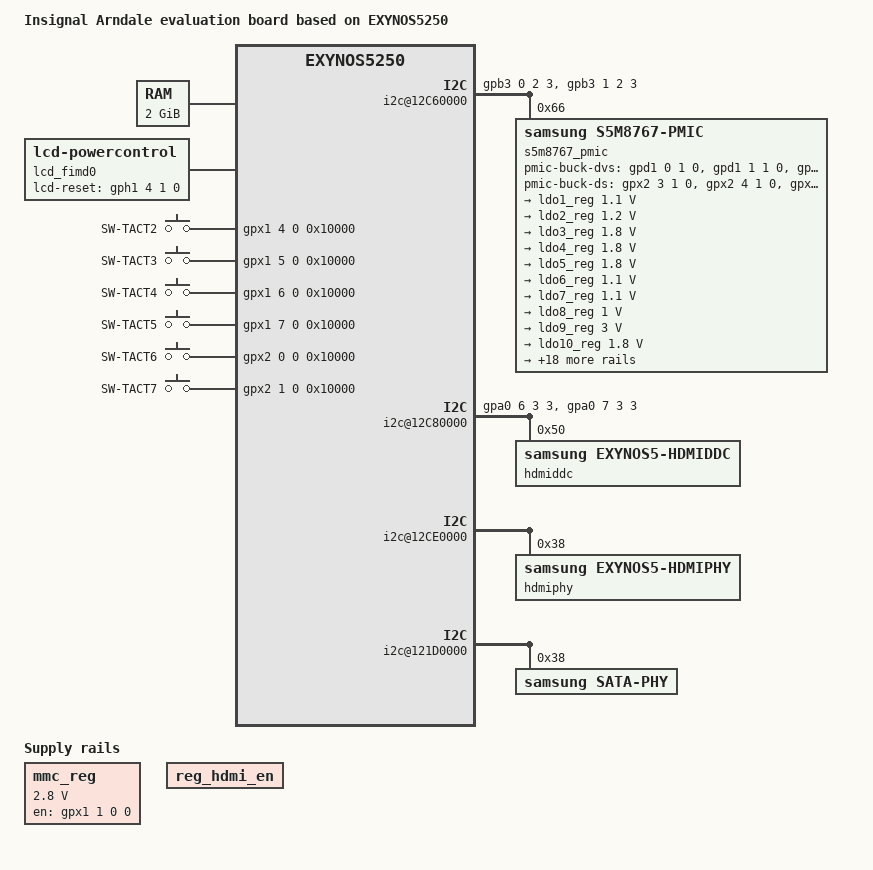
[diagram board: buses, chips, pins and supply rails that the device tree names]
/*
 * Samsung's Exynos5250 based Arndale board device tree source
 *
 * Copyright (c) 2013 Samsung Electronics Co., Ltd.
 *		http://www.samsung.com
 *
 * This program is free software; you can redistribute it and/or modify
 * it under the terms of the GNU General Public License version 2 as
 * published by the Free Software Foundation.
*/

/dts-v1/;
/include/ "exynos5250.dtsi"

/ {
	model = "Insignal Arndale evaluation board based on EXYNOS5250";
	compatible = "insignal,arndale", "samsung,exynos5250";

	memory {
		reg = <0x40000000 0x80000000>;
	};

	timer {
		compatible = "arm,armv7-timer";
		interrupts = <1 13 0xf08>,
			     <1 14 0xf08>,
			     <1 11 0xf08>,
			     <1 10 0xf08>;
	};

	chosen {
		bootargs = "console=ttySAC2,115200";
	};

	codec@11000000 {
		samsung,mfc-r = <0x43000000 0x800000>;
		samsung,mfc-l = <0x51000000 0x800000>;
	};

	i2c@12C60000 {
		samsung,i2c-sda-delay = <100>;
		samsung,i2c-max-bus-freq = <20000>;
		samsung,i2c-slave-addr = <0x66>;
		gpios = <&gpb3 0 2 3 0>,
			<&gpb3 1 2 3 0>;

		s5m8767_pmic@66 {
			compatible = "samsung,s5m8767-pmic";
			reg = <0x66>;

			s5m8767,pmic-buck2-dvs-voltage = <1300000>;
			s5m8767,pmic-buck3-dvs-voltage = <1100000>;
			s5m8767,pmic-buck4-dvs-voltage = <1200000>;
			s5m8767,pmic-buck-dvs-gpios = <&gpd1 0 1 0 0>,
							<&gpd1 1 1 0 0>,
							<&gpd1 2 1 0 0>;
			s5m8767,pmic-buck-ds-gpios = <&gpx2 3 1 0 0>,
							<&gpx2 4 1 0 0>,
							<&gpx2 5 1 0 0>;
			regulators {
				ldo1_reg: LDO1 {
					regulator-name = "VDD_ALIVE_1.0V";
					regulator-min-microvolt = <1100000>;
					regulator-max-microvolt = <1100000>;
					regulator-always-on;
					regulator-boot-on;
					op_mode = <1>;
				};

				ldo2_reg: LDO2 {
					regulator-name = "VDD_28IO_DP_1.35V";
					regulator-min-microvolt = <1200000>;
					regulator-max-microvolt = <1200000>;
					regulator-always-on;
					regulator-boot-on;
					op_mode = <1>;
				};

				ldo3_reg: LDO3 {
					regulator-name = "VDD_COMMON1_1.8V";
					regulator-min-microvolt = <1800000>;
					regulator-max-microvolt = <1800000>;
					regulator-always-on;
					regulator-boot-on;
					op_mode = <1>;
				};

				ldo4_reg: LDO4 {
					regulator-name = "VDD_IOPERI_1.8V";
					regulator-min-microvolt = <1800000>;
					regulator-max-microvolt = <1800000>;
					op_mode = <1>;
				};

				ldo5_reg: LDO5 {
					regulator-name = "VDD_EXT_1.8V";
					regulator-min-microvolt = <1800000>;
					regulator-max-microvolt = <1800000>;
					regulator-always-on;
					regulator-boot-on;
					op_mode = <1>;
				};

				ldo6_reg: LDO6 {
					regulator-name = "VDD_MPLL_1.1V";
					regulator-min-microvolt = <1100000>;
					regulator-max-microvolt = <1100000>;
					regulator-always-on;
					regulator-boot-on;
					op_mode = <1>;
				};

				ldo7_reg: LDO7 {
					regulator-name = "VDD_XPLL_1.1V";
					regulator-min-microvolt = <1100000>;
					regulator-max-microvolt = <1100000>;
					regulator-always-on;
					regulator-boot-on;
					op_mode = <1>;
				};

				ldo8_reg: LDO8 {
					regulator-name = "VDD_COMMON2_1.0V";
					regulator-min-microvolt = <1000000>;
					regulator-max-microvolt = <1000000>;
					regulator-always-on;
					regulator-boot-on;
					op_mode = <1>;
				};

				ldo9_reg: LDO9 {
					regulator-name = "VDD_33ON_3.0V";
					regulator-min-microvolt = <3000000>;
					regulator-max-microvolt = <3000000>;
					op_mode = <1>;
				};

				ldo10_reg: LDO10 {
					regulator-name = "VDD_COMMON3_1.8V";
					regulator-min-microvolt = <1800000>;
					regulator-max-microvolt = <1800000>;
					regulator-always-on;
					regulator-boot-on;
					op_mode = <1>;
				};

				ldo11_reg: LDO11 {
					regulator-name = "VDD_ABB2_1.8V";
					regulator-min-microvolt = <1800000>;
					regulator-max-microvolt = <1800000>;
					regulator-always-on;
					regulator-boot-on;
					op_mode = <1>;
				};

				ldo12_reg: LDO12 {
					regulator-name = "VDD_USB_3.0V";
					regulator-min-microvolt = <3000000>;
					regulator-max-microvolt = <3000000>;
					regulator-always-on;
					regulator-boot-on;
					op_mode = <1>;
				};

				ldo13_reg: LDO13 {
					regulator-name = "VDDQ_C2C_W_1.8V";
					regulator-min-microvolt = <1800000>;
					regulator-max-microvolt = <1800000>;
					regulator-always-on;
					regulator-boot-on;
					op_mode = <1>;
				};

				ldo14_reg: LDO14 {
					regulator-name = "VDD18_ABB0_3_1.8V";
					regulator-min-microvolt = <1800000>;
					regulator-max-microvolt = <1800000>;
					regulator-always-on;
					regulator-boot-on;
					op_mode = <1>;
				};

				ldo15_reg: LDO15 {
					regulator-name = "VDD10_COMMON4_1.0V";
					regulator-min-microvolt = <1000000>;
					regulator-max-microvolt = <1000000>;
					regulator-always-on;
					regulator-boot-on;
					op_mode = <1>;
				};

				ldo16_reg: LDO16 {
					regulator-name = "VDD18_HSIC_1.8V";
					regulator-min-microvolt = <1800000>;
					regulator-max-microvolt = <1800000>;
					regulator-always-on;
					regulator-boot-on;
					op_mode = <1>;
				};

				ldo17_reg: LDO17 {
					regulator-name = "VDDQ_MMC2_3_2.8V";
					regulator-min-microvolt = <2800000>;
					regulator-max-microvolt = <2800000>;
					regulator-always-on;
					regulator-boot-on;
					op_mode = <1>;
				};

				ldo18_reg: LDO18 {
					regulator-name = "VDD_33ON_2.8V";
					regulator-min-microvolt = <2800000>;
					regulator-max-microvolt = <2800000>;
					op_mode = <1>;
				};

				ldo22_reg: LDO22 {
					regulator-name = "EXT_33_OFF";
					regulator-min-microvolt = <3300000>;
					regulator-max-microvolt = <3300000>;
					op_mode = <1>;
				};

				ldo23_reg: LDO23 {
					regulator-name = "EXT_28_OFF";
					regulator-min-microvolt = <2800000>;
					regulator-max-microvolt = <2800000>;
					op_mode = <1>;
				};

				ldo25_reg: LDO25 {
					regulator-name = "PVDD_LDO25";
					regulator-min-microvolt = <1200000>;
					regulator-max-microvolt = <1200000>;
					op_mode = <1>;
				};

				ldo26_reg: LDO26 {
					regulator-name = "EXT_18_OFF";
					regulator-min-microvolt = <1800000>;
					regulator-max-microvolt = <1800000>;
					op_mode = <1>;
				};

				buck1_reg: BUCK1 {
					regulator-name = "vdd_mif";
					regulator-min-microvolt = <950000>;
					regulator-max-microvolt = <1200000>;
					regulator-always-on;
					regulator-boot-on;
					op_mode = <1>;
				};

				buck2_reg: BUCK2 {
					regulator-name = "vdd_arm";
					regulator-min-microvolt = <925000>;
					regulator-max-microvolt = <1300000>;
					regulator-always-on;
					regulator-boot-on;
					op_mode = <1>;
				};

				buck3_reg: BUCK3 {
					regulator-name = "vdd_int";
					regulator-min-microvolt = <900000>;
					regulator-max-microvolt = <1200000>;
					regulator-always-on;
					regulator-boot-on;
					op_mode = <1>;
				};

				buck4_reg: BUCK4 {
					regulator-name = "vdd_g3d";
					regulator-min-microvolt = <1000000>;
					regulator-max-microvolt = <1000000>;
					regulator-boot-on;
					op_mode = <1>;
				};

				buck5_reg: BUCK5 {
					regulator-name = "VDD_MEM_1.35V";
					regulator-min-microvolt = <750000>;
					regulator-max-microvolt = <1355000>;
					regulator-always-on;
					regulator-boot-on;
					op_mode = <1>;
				};

				buck9_reg: BUCK9 {
					regulator-name = "VDD_33_OFF_EXT1";
					regulator-min-microvolt = <750000>;
					regulator-max-microvolt = <3000000>;
					op_mode = <1>;
				};
			};
		};
	};

	i2c@12C70000 {
		status = "disabled";
	};

	i2c@12C80000 {
		samsung,i2c-sda-delay = <100>;
		samsung,i2c-max-bus-freq = <66000>;
		gpios = <&gpa0 6 3 3 0>,
			<&gpa0 7 3 3 0>;

		hdmiddc@50 {
			compatible = "samsung,exynos5-hdmiddc";
			reg = <0x50>;
		};
	};

	i2c@12C90000 {
		status = "disabled";
	};

	i2c@12CA0000 {
		status = "disabled";
	};

	i2c@12CB0000 {
		status = "disabled";
	};

	i2c@12CC0000 {
		status = "disabled";
	};

	i2c@12CD0000 {
		status = "disabled";
	};

	i2c@12CE0000 {
		samsung,i2c-sda-delay = <100>;
		samsung,i2c-max-bus-freq = <66000>;

		hdmiphy@38 {
			compatible = "samsung,exynos5-hdmiphy";
			reg = <0x38>;
		};
	};

	i2c@121D0000 {
		samsung,i2c-sda-delay = <100>;
		samsung,i2c-max-bus-freq = <40000>;
		samsung,i2c-slave-addr = <0x38>;

		sata-phy {
			compatible = "samsung,sata-phy";
			reg = <0x38>;
		};
	};

	sata@122F0000 {
		samsung,sata-freq = <66>;
	};
	
	dwmmc_0: dwmmc0@12200000 {
		num-slots = <1>;
		supports-highspeed;
		broken-cd;
		fifo-depth = <0x80>;
		card-detect-delay = <200>;
		samsung,dw-mshc-ciu-div = <3>;
		samsung,dw-mshc-sdr-timing = <2 3>;
		samsung,dw-mshc-ddr-timing = <1 2>;
		vmmc-supply = <&mmc_reg>;

		slot@0 {
			reg = <0>;
			bus-width = <8>;
			gpios = <&gpc0 0 2 0 3>, <&gpc0 1 2 0 3>,
				<&gpc0 3 2 3 3>, <&gpc0 4 2 3 3>,
				<&gpc0 5 2 3 3>, <&gpc0 6 2 3 3>,
				<&gpc1 0 2 3 3>, <&gpc1 1 2 3 3>,
				<&gpc1 2 2 3 3>, <&gpc1 3 2 3 3>;
		};
	};

	dwmmc_1: dwmmc1@12210000 {
		status = "disabled";
	};

	dwmmc_2: dwmmc2@12220000 {
		num-slots = <1>;
		supports-highspeed;
		fifo-depth = <0x80>;
		card-detect-delay = <200>;
		samsung,dw-mshc-ciu-div = <3>;
		samsung,dw-mshc-sdr-timing = <2 3>;
		samsung,dw-mshc-ddr-timing = <1 2>;
		vmmc-supply = <&mmc_reg>;

		slot@0 {
			reg = <0>;
			bus-width = <4>;
			disable-wp;
			samsung,cd-pinmux-gpio = <&gpc3 2 2 3 3>;
			gpios = <&gpc3 0 2 0 3>, <&gpc3 1 2 0 3>,
				<&gpc3 3 2 3 3>, <&gpc3 4 2 3 3>,
				<&gpc3 5 2 3 3>, <&gpc3 6 2 3 3>;
		};
	};

	dwmmc_3: dwmmc3@12230000 {
		status = "disabled";
	};

	spi_0: spi@12d20000 {
		status = "disabled";
	};

	spi_1: spi@12d30000 {
		status = "disabled";
	};

	spi_2: spi@12d40000 {
		status = "disabled";
	};

	display-timings {
		native-mode = <&timing0>;
		timing0: timing@0 {
			clock-frequency = <50000>;
			hactive = <1024>;
			vactive = <600>;
			hfront-porch = <64>;
			hback-porch = <16>;
			hsync-len = <48>;
			vback-porch = <64>;
			vfront-porch = <16>;
			vsync-len = <3>;
		};
	};

	lcd_fimd0: lcd_panel0 {
		compatible = "lcd-powercontrol";
		lcd-reset-gpio = <&gph1 4 1 0 0>;
		lcd-htiming = <64 16 48 1024>;
		lcd-vtiming = <64 16 3 600>;
	};

	fimd: fimd@14400000 {
		samsung,fimd-display = <&lcd_fimd0>;
		samsung,fimd-vidout-rgb;
		samsung,fimd-inv-hsync;
		samsung,fimd-inv-vsync;
		samsung,fimd-inv-vclk;
		samsung,fimd-frame-rate = <60>;

		gpios = <&gph1 0 2 0 0>,
			<&gph1 1 2 0 0>;

		window0 {
			samsung,fimd-win-id = <0>;
			samsung,fimd-win-bpp = <32 24>;
			samsung,fimd-win-res = <1024 600>;
			samsung,fimd-win-vres = <1024 600>;
		};

		window1 {
			samsung,fimd-win-id = <1>;
			samsung,fimd-win-bpp = <32 24>;
			samsung,fimd-win-res = <1024 600>;
			samsung,fimd-win-vres = <1024 600>;
		};
	};

	gpio_keys {
		compatible = "gpio-keys";
		#address-cells = <1>;
		#size-cells = <0>;

		menu {
			label = "SW-TACT2";
			gpios = <&gpx1 4 0 0x10000 2>;
			linux,code = <139>;
			gpio-key,wakeup;
		};

		home {
			label = "SW-TACT3";
			gpios = <&gpx1 5 0 0x10000 2>;
			linux,code = <102>;
			gpio-key,wakeup;
		};

		up {
			label = "SW-TACT4";
			gpios = <&gpx1 6 0 0x10000 2>;
			linux,code = <103>;
			gpio-key,wakeup;
		};

		down {
			label = "SW-TACT5";
			gpios = <&gpx1 7 0 0x10000 2>;
			linux,code = <108>;
			gpio-key,wakeup;
		};

		back {
			label = "SW-TACT6";
			gpios = <&gpx2 0 0 0x10000 2>;
			linux,code = <158>;
			gpio-key,wakeup;
		};

		wakeup {
			label = "SW-TACT7";
			gpios = <&gpx2 1 0 0x10000 2>;
			linux,code = <143>;
			gpio-key,wakeup;
		};
	};

	hdmi {
		hpd-gpio = <&gpx3 7 0xf 1 3>;
		vdd_osc-supply = <&ldo10_reg>;
		vdd_pll-supply = <&ldo8_reg>;
		vdd-supply = <&ldo8_reg>;
	};

	mmc_reg: voltage-regulator {
		compatible = "regulator-fixed";
		regulator-name = "VDD_33ON_2.8V";
		regulator-min-microvolt = <2800000>;
		regulator-max-microvolt = <2800000>;
		gpio = <&gpx1 1 0 0 2>;
		enable-active-high;
	};

	reg_hdmi_en: fixedregulator@0 {
		compatible = "regulator-fixed";
		regulator-name = "hdmi-en";
	};

	ehci {
		samsung,hub-reset = <&gpx3 5 1 0 3>;
		samsung,hub-connect = <&gpd1 7 1 0 3>;
	};
};
